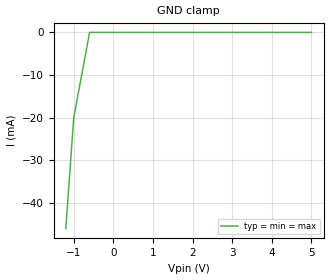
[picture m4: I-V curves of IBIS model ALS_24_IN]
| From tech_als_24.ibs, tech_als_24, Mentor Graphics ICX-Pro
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[Model]		ALS_24_IN
Model_type	Input
Polarity	Non-Inverting
Enable		Active-High
Vinl = 0.800000V
Vinh = 2.000000V
|		typ		min		max
C_comp		4.000000pF		2.000000pF		6.000000pF
|			typ		min		max
[voltage range]	5.000000V		4.500000V		5.500000V
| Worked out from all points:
|   GND clamp passes 1 mA (typ) near -0.62 V on its own axis
[Gnd Clamp]
|	Voltage		I(typ)		I(min)		I(max)
-1.2V     -46mA      -46mA      -46mA
-1V       -20mA      -20mA      -20mA
-700mV    -5mA       -5mA       -5mA
-600mV    0A         0A         0A
0V        0A         0A         0A
5V        0A         0A         0A
